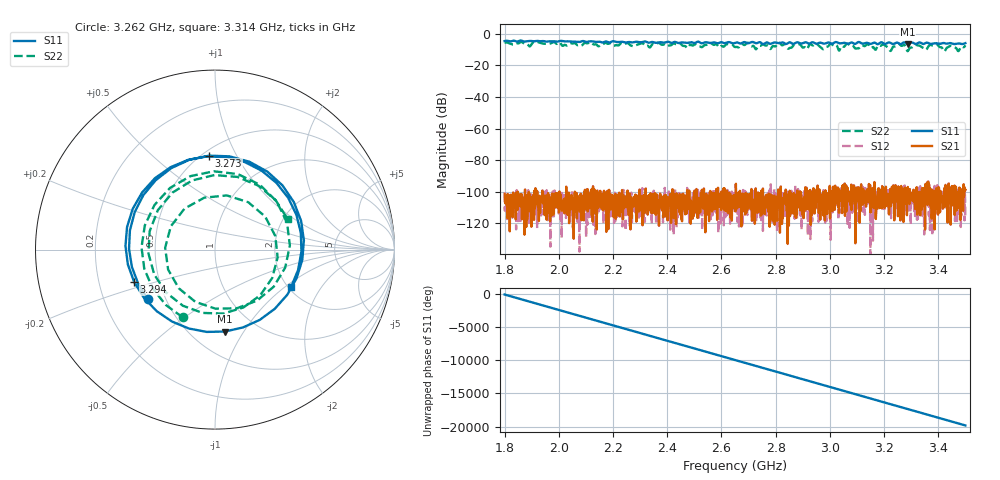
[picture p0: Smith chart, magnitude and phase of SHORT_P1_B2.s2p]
# Hz S RI R 50
! RAW DATA - UNCALIBRATED
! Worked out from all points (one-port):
!   1601 points, 1.8 GHz to 3.5 GHz, reference 50 ohm
!   lowest |S11| = -6.7 dB at 3.288 GHz (marker M1), VSWR 2.70, Z = 35.9 - j41.5 ohm
!   |S11| at or under -10 dB: nowhere
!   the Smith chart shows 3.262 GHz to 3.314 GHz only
!   S11 on the Smith chart (normalised r, x): 3.262 GHz: 0.40, -0.28; 3.273 GHz: 0.54, +0.78; 3.294 GHz: 0.36, -0.17; 3.314 GHz: 2.07, -1.11
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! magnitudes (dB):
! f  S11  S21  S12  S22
! 1.8 GHz  -4.8  -101.2  -109.5  -5.7
! 2.084 GHz  -4.9  -118.0  -109.2  -7.5
! 2.367 GHz  -5.6  -113.4  -109.0  -5.9
! 2.65 GHz  -5.9  -106.8  -108.3  -8.5
! 2.783 GHz  -6.4  -104.9  -99.6  -9.5
! 2.813 GHz  -6.0  -105.3  -112.5  -5.7
! 2.91 GHz  -5.5  -108.1  -108.3  -9.0
! 2.934 GHz  -5.6  -108.6  -103.4  -7.3
! 2.975 GHz  -6.3  -100.1  -114.6  -9.9
! 3.004 GHz  -6.3  -99.8  -106.1  -6.4
! 3.099 GHz  -5.9  -104.7  -104.8  -9.4
! 3.197 GHz  -6.1  -108.7  -110.8  -6.8
! 3.217 GHz  -5.6  -113.9  -100.9  -9.5
! 3.262 GHz  -6.6  -104.0  -99.8  -7.6
! 3.273 GHz  -5.6  -103.8  -100.7  -7.1
! 3.288 GHz  -6.7  -97.0  -102.1  -11.1
! 3.294 GHz  -6.3  -107.8  -99.4  -9.3
! 3.314 GHz  -6.5  -108.9  -115.3  -7.1
! 3.352 GHz  -6.1  -95.1  -102.9  -10.1
! 3.392 GHz  -6.1  -99.9  -107.0  -6.5
! 3.422 GHz  -6.0  -109.6  -106.5  -11.3
! 3.5 GHz  -6.0  -98.8  -116.8  -7.4
